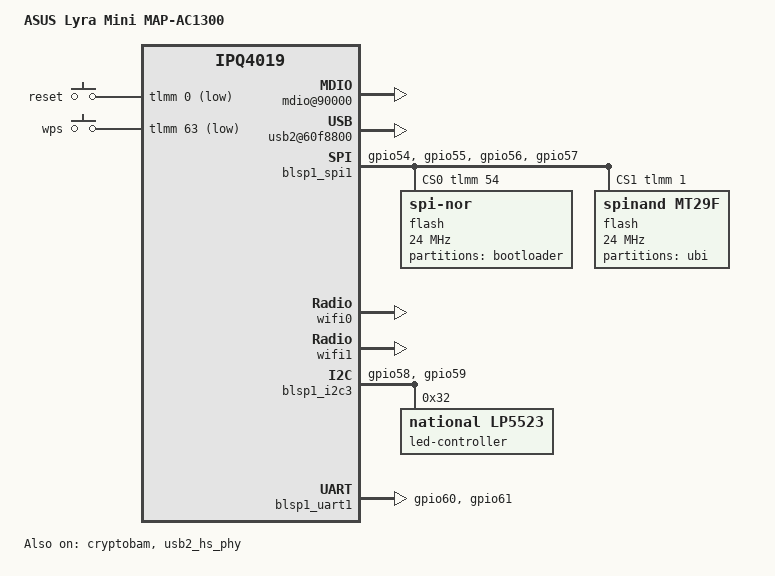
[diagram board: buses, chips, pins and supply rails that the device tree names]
// SPDX-License-Identifier: GPL-2.0+ OR MIT
/dts-v1/;

#include "qcom-ipq4019.dtsi"
#include <dt-bindings/gpio/gpio.h>
#include <dt-bindings/input/input.h>
#include <dt-bindings/soc/qcom,tcsr.h>

/ {
	model = "ASUS Lyra Mini MAP-AC1300";
	compatible = "asus,map-ac1300";

	aliases {
		led-boot = &led_blue0;
		led-failsafe = &led_red0;
		led-running = &led_blue0;
		led-upgrade = &led_red0;
	};

	soc {
		mdio@90000 {
			status = "okay";
		};

		ess-psgmii@98000 {
			status = "okay";
		};

		tcsr@1949000 {
			compatible = "qcom,tcsr";
			reg = <0x1949000 0x100>;
			qcom,wifi_glb_cfg = <TCSR_WIFI_GLB_CFG>;
		};

		ess_tcsr@1953000 {
			compatible = "qcom,tcsr";
			reg = <0x1953000 0x1000>;
			qcom,ess-interface-select = <TCSR_ESS_PSGMII>;
		};

		tcsr@1957000 {
			compatible = "qcom,tcsr";
			reg = <0x1957000 0x100>;
			qcom,wifi_noc_memtype_m0_m2 = <TCSR_WIFI_NOC_MEMTYPE_M0_M2>;
		};

		usb2@60f8800 {
			status = "okay";
		};

		crypto@8e3a000 {
			status = "okay";
		};

		watchdog@b017000 {
			status = "okay";
		};

		ess-switch@c000000 {
			status = "okay";
		};

		edma@c080000 {
			status = "okay";
		};
	};

	keys {
		compatible = "gpio-keys";

		reset {
			label = "reset";
			gpios = <&tlmm 0 GPIO_ACTIVE_LOW>;
			linux,code = <KEY_RESTART>;
		};

		wps {
			label = "wps";
			gpios = <&tlmm 63 GPIO_ACTIVE_LOW>;
			linux,code = <KEY_WPS_BUTTON>;
		};
	};
};

&blsp1_spi1 {
	status = "okay";

	pinctrl-0 = <&spi_0_pins>;
	pinctrl-names = "default";

	cs-gpios = <&tlmm 54 GPIO_ACTIVE_HIGH>,
		   <&tlmm 1 GPIO_ACTIVE_HIGH>;

	flash@0 {
		compatible = "jedec,spi-nor";
		reg = <0>;
		spi-max-frequency = <24000000>;

		partitions {
			compatible = "fixed-partitions";
			#address-cells = <1>;
			#size-cells = <1>;

			partition@0 {
				label = "bootloader";
				reg = <0x0 0x200000>;
				read-only;
			};
		};
	};

	flash@1 {
		compatible = "spinand,mt29f";
		reg = <1>;
		spi-max-frequency = <24000000>;

		partitions {
			compatible = "fixed-partitions";
			#address-cells = <1>;
			#size-cells = <1>;

			partition@0 {
				label = "ubi";
				reg = <0x0 0x8000000>;
				read-only;
			};
		};
	};
};


&tlmm {
	i2c_0_pins: i2c_0_pinmux {
		pinmux {
			function = "blsp_i2c0";
			pins = "gpio58", "gpio59";
			drive-strength = <16>;
			bias-disable;
		};
	};

	spi_0_pins: spi_0_pinmux {
		mux {
			function = "blsp_spi0";
			pins = "gpio54", "gpio55", "gpio56", "gpio57";
			bias-disable;
		};
	};

	serial_pins: serial_pinmux {
		mux {
			pins = "gpio60", "gpio61";
			function = "blsp_uart0";
			bias-disable;
		};
	};
};

&cryptobam {
	status = "okay";
};

&wifi0 {
	status = "okay";
};

&wifi1 {
	status = "okay";
};

&usb2_hs_phy {
	/* Bluetooth module attached via USB */
	status = "okay";
};

&blsp1_i2c3 {
	pinctrl-0 = <&i2c_0_pins>;
	pinctrl-names = "default";
	status = "okay";

	led-controller@32 {
		/* 9-channel RGB LED controller */
		compatible = "national,lp5523";
		reg = <0x32>;
		clock-mode = [01];

		led_blue0: blue0 {
			chan-name = "blue0";
			label = "map-ac13000:blue:chan0";
			led-cur = [fa];
			max-cur = [ff];
		};

		blue1 {
			chan-name = "blue1";
			label = "map-ac13000:blue:chan1";
			led-cur = [fa];
			max-cur = [ff];
		};

		blue2 {
			chan-name = "blue2";
			label = "map-ac13000:blue:chan2";
			led-cur = [fa];
			max-cur = [ff];
		};

		led_green0: green0 {
			chan-name = "green0";
			label = "map-ac13000:green:chan0";
			led-cur = [fa];
			max-cur = [ff];
		};

		green1 {
			chan-name = "green1";
			label = "map-ac13000:green:chan1";
			led-cur = [fa];
			max-cur = [ff];
		};

		green2 {
			chan-name = "green2";
			label = "map-ac13000:green:chan2";
			led-cur = [fa];
			max-cur = [ff];
		};

		led_red0: red0 {
			chan-name = "red0";
			label = "map-ac13000:red:chan0";
			led-cur = [fa];
			max-cur = [ff];
		};

		red1 {
			chan-name = "red1";
			label = "map-ac13000:red:chan1";
			led-cur = [fa];
			max-cur = [ff];
		};

		red2 {
			chan-name = "red2";
			label = "map-ac13000:red:chan2";
			led-cur = [fa];
			max-cur = [ff];
		};
	};
};

&blsp1_uart1 {
	pinctrl-0 = <&serial_pins>;
	pinctrl-names = "default";
	status = "okay";
};
